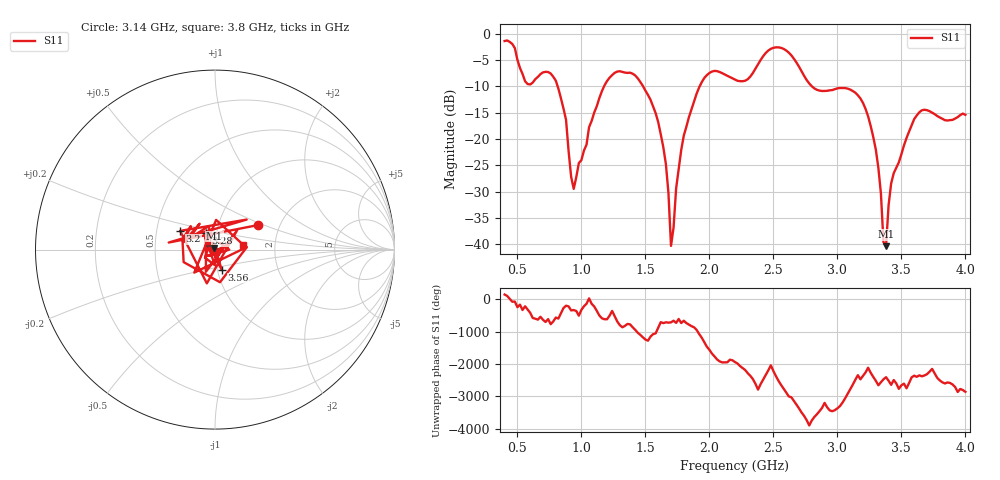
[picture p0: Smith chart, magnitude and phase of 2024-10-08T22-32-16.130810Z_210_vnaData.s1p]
! Created with skrf (http://scikit-rf.org).
# Hz S RI R 50.0
!freq ReS11 ImS11
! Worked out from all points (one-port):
!   181 points, 400 MHz to 4 GHz, reference 50 ohm
!   lowest |S11| = -40.4 dB at 3.38 GHz (marker M1), VSWR 1.02, Z = 49.7 + j0.904 ohm
!   |S11| at or under -10 dB: 814.7 MHz to 1.177 GHz (361.8 MHz wide, 36.3 % of centre); 1.483 GHz to 1.923 GHz (440.8 MHz wide, 25.9 % of centre); 2.802 GHz to end of sweep
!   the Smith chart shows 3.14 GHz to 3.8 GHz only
!   S11 on the Smith chart (normalised r, x): 3.14 GHz: 1.55, +0.46; 3.2 GHz: 0.66, +0.15; 3.28 GHz: 0.89, +0.16; 3.56 GHz: 1.05, -0.24; 3.8 GHz: 1.37, +0.07
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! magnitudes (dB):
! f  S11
! 400 MHz  -1.4
! 580 MHz  -9.5
! 760 MHz  -7.5
! 860 MHz  -14.2
! 940 MHz  -29.5
! 1.16 GHz  -10.9
! 1.3 GHz  -7.1
! 1.58 GHz  -15.1
! 1.66 GHz  -24.8
! 1.7 GHz  -40.3
! 1.76 GHz  -25.6
! 1.96 GHz  -8.4
! 2.2 GHz  -8.7
! 2.5 GHz  -2.6
! 2.66 GHz  -4.7
! 2.84 GHz  -10.6
! 3.1 GHz  -10.6
! 3.14 GHz  -11.2
! 3.2 GHz  -13.1
! 3.28 GHz  -19.6
! 3.34 GHz  -30.3
! 3.36 GHz  -39.6
! 3.38 GHz  -40.4
! 3.42 GHz  -28.4
! 3.56 GHz  -18.6
! 3.66 GHz  -14.5
! 3.8 GHz  -15.9
! 4 GHz  -15.4
